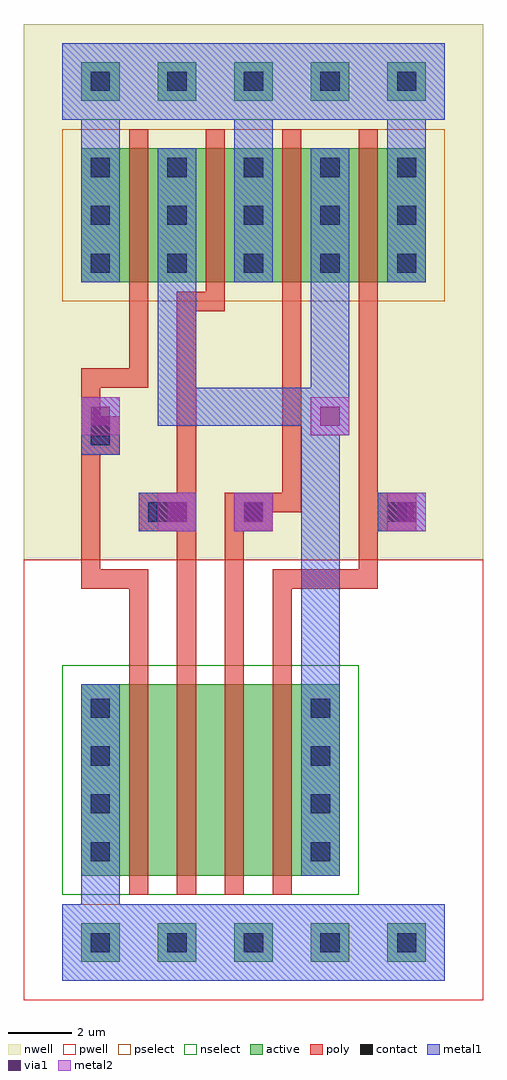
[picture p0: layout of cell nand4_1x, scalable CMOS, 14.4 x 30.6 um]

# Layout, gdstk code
import gdstk
lib = gdstk.Library(unit=1e-6, precision=1e-09)
def R(c, l, rs):  # rectangles x0, y0, x1, y1
    for r in rs: c.add(gdstk.rectangle(r[:2], r[2:], *l))
def A(c, l, x, y, w, h, nx, ny, dx, dy):  # array of equal rectangles
    R(c, l, [(x+i*dx, y+j*dy, x+i*dx+w, y+j*dy+h) for i in range(nx) for j in range(ny)])
contact = (25, 0)
pwell = (41, 0)
nwell = (42, 0)
active = (43, 0)
pselect = (44, 0)
nselect = (45, 0)
poly = (46, 0)
metal1 = (49, 0)
via1 = (50, 0)
metal2 = (51, 0)

nand4_1x = lib.new_cell('nand4_1x')
A(nand4_1x, contact, 0.3, -0.3, 0.6, 0.6, 5, 2, 2.4, 21.3)
A(nand4_1x, contact, 0.3, 2.55, 0.6, 0.6, 1, 4, 0, 1.5)
A(nand4_1x, contact, 7.2, 2.55, 0.6, 0.6, 1, 4, 0, 1.5)
A(nand4_1x, contact, 0.3, 22.5, 0.6, 0.6, 5, 2, 2.4, 1.5)
A(nand4_1x, contact, 0.3, 26.7, 0.6, 0.6, 5, 1, 2.4, 0)
R(nand4_1x, contact, [(2.1,13.2,2.7,13.8), (5.1,13.2,5.7,13.8), (9.6,13.2,10.2,13.8), (0.3,15.6,0.9,16.2)])
A(nand4_1x, pwell, -0.9, -1.5, 3, 3, 5, 1, 2.4, 0)
A(nand4_1x, pwell, -1.2, 0.3, 6, 9.6, 4, 1, 1.5, 0)
A(nand4_1x, pwell, -0.075, 5.1, 5.25, 4.5, 3, 1, 1.5, 0)
R(nand4_1x, pwell, [(-1.8,-1.8,12.6,12), (-1.8,0.3,3,9.9), (5.1,0.3,9.9,9.9), (5.175,4.35,9.75,8.85), (-1.8,5.1,2.925,9.6)])
A(nand4_1x, nwell, -1.8, 18.9, 4.8, 7.8, 5, 1, 2.4, 0)
A(nand4_1x, nwell, -1.2, 18.9, 6, 7.8, 4, 1, 2.4, 0)
A(nand4_1x, nwell, -0.9, 25.5, 3, 3, 5, 1, 2.4, 0)
R(nand4_1x, nwell, [(-1.8,12,12.6,28.8), (5.475,18.9,10.2,23.4), (5.7,18.9,10.2,25.65), (0.75,19.8,5.325,24.3), (7.875,19.8,12.45,24.3), (3.075,19.95,7.8,24.45), (3.15,19.95,7.725,24.45), (5.55,20.1,10.125,24.6), (0.675,20.4,5.4,24.9), (-1.65,21.15,2.925,25.65)])
A(nand4_1x, active, 0, -0.6, 1.2, 1.2, 5, 2, 2.4, 27)
A(nand4_1x, active, 0.6, 2.1, 2.4, 6, 4, 1, 1.5, 0)
A(nand4_1x, active, 1.725, 6.9, 1.65, 0.9, 3, 1, 1.5, 0)
A(nand4_1x, active, 0, 20.7, 1.2, 4.2, 5, 1, 2.4, 0)
A(nand4_1x, active, 0.6, 20.7, 2.4, 4.2, 4, 1, 2.4, 0)
R(nand4_1x, active, [(0,2.1,1.2,8.1), (6.9,2.1,8.1,8.1), (6.975,6.15,7.95,7.05), (0,6.9,1.125,7.8), (7.275,20.7,8.4,21.6), (7.5,20.7,8.4,23.85), (2.55,21.6,3.525,22.5), (9.675,21.6,10.65,22.5), (4.875,21.75,6,22.65), (4.95,21.75,5.925,22.65), (7.35,21.9,8.325,22.8), (2.475,22.2,3.6,23.1), (0.15,22.95,1.125,23.85)])
A(nand4_1x, pselect, -0.6, -1.2, 2.4, 2.4, 5, 1, 2.4, 0)
A(nand4_1x, pselect, -0.6, 20.1, 2.4, 5.4, 5, 1, 2.4, 0)
A(nand4_1x, pselect, 0, 20.1, 3.6, 5.4, 4, 1, 2.4, 0)
R(nand4_1x, pselect, [(6.675,20.1,9,22.2), (6.9,20.1,9,24.45), (1.95,21,4.125,23.1), (9.075,21,11.25,23.1), (4.275,21.15,6.6,23.25), (4.35,21.15,6.525,23.25), (6.75,21.3,8.925,23.4), (1.875,21.6,4.2,23.7), (-0.45,22.35,1.725,24.45)])
A(nand4_1x, nselect, 0, 1.5, 3.6, 7.2, 4, 1, 1.5, 0)
A(nand4_1x, nselect, 1.125, 6.3, 2.85, 2.1, 3, 1, 1.5, 0)
A(nand4_1x, nselect, -0.6, 25.8, 2.4, 2.4, 5, 1, 2.4, 0)
R(nand4_1x, nselect, [(-0.6,1.5,1.8,8.7), (6.3,1.5,8.7,8.7), (6.375,5.55,8.55,7.65), (-0.6,6.3,1.725,8.4)])
A(nand4_1x, poly, 1.5, 1.5, 0.6, 7.2, 4, 1, 1.5, 0)
A(nand4_1x, poly, 1.5, 20.1, 0.6, 5.4, 4, 1, 2.4, 0)
R(nand4_1x, poly, [(1.5,8.4,2.1,11.7), (3,8.4,3.6,13.8), (4.5,8.4,5.1,14.1), (6,8.4,6.6,11.7), (0,11.1,2.1,11.7), (0,11.1,0.6,16.2), (6,11.1,9.3,11.7), (8.7,11.1,9.3,13.8), (1.8,12.9,3,14.1), (4.8,12.9,6,14.1), (9.3,12.9,10.5,14.1), (2.1,13.2,3.6,13.8), (3,13.2,3.6,20.4), (5.1,13.2,5.7,13.8), (5.1,13.2,5.7,14.1), (8.7,13.2,9.3,20.4), (8.7,13.2,10.2,13.8), (4.5,13.5,5.7,14.1), (4.5,13.5,6.9,14.1), (6.3,13.5,6.9,17.1), (0,15.3,1.2,16.5), (0,15.6,0.6,18), (0,15.6,0.9,16.2), (6.3,15.9,6.9,17.1), (6.3,16.5,6.9,20.4), (0,17.4,2.1,18), (1.5,17.4,2.1,20.4), (3,19.8,4.5,20.4)])
A(nand4_1x, metal1, -0.6, -1.2, 4.8, 2.4, 4, 2, 2.4, 27)
A(nand4_1x, metal1, 0, -0.6, 1.2, 1.2, 5, 1, 2.4, 0)
A(nand4_1x, metal1, 0, 20.7, 1.2, 4.2, 5, 1, 2.4, 0)
A(nand4_1x, metal1, 0, 26.4, 1.2, 1.2, 4, 1, 2.4, 0)
R(nand4_1x, metal1, [(-0.6,-1.2,1.8,1.2), (-0.6,-1.2,4.2,1.2), (0,-0.6,1.2,3.15), (0,2.1,1.2,8.1), (6.9,2.1,8.1,8.1), (6.9,6,8.1,17.1), (1.8,12.9,3,14.1), (1.8,12.9,3.6,14.1), (2.4,12.9,3.6,14.1), (4.8,12.9,6,14.1), (4.8,12.9,6,14.1), (4.8,12.9,6,14.1), (9.3,12.9,10.5,14.1), (9.3,12.9,10.8,14.1), (9.6,12.9,10.8,14.1), (4.95,13.05,5.85,13.95), (0,15.3,1.2,16.5), (0,15.3,1.2,17.1), (0,15.9,1.2,17.1), (6.9,15.9,8.1,17.4), (6.9,15.9,8.4,17.1), (6.9,15.9,8.4,17.1), (7.2,15.9,8.4,17.1), (7.2,15.9,8.4,21.75), (2.4,16.2,3.6,21.75), (2.4,16.2,8.1,17.4), (4.8,22.65,6,27.6), (0,22.8,1.2,27.6), (9.6,22.8,10.8,27.6), (-0.6,25.8,1.8,28.2), (0,26.4,1.2,27.6), (4.8,26.4,8.4,27.6), (7.2,26.4,8.4,27.6), (9.6,26.4,10.8,27.6), (9.6,26.4,10.8,27.6)])
R(nand4_1x, via1, [(2.7,13.2,3.3,13.8), (5.1,13.2,5.7,13.8), (9.9,13.2,10.5,13.8), (0.3,16.2,0.9,16.8), (7.5,16.2,8.1,16.8)])
R(nand4_1x, metal2, [(2.4,12.9,3.6,14.1), (4.8,12.9,6,14.1), (9.6,12.9,10.8,14.1), (0,15.9,1.2,17.1), (7.2,15.9,8.4,17.1)])

lib.write_gds('nand4_1x.gds')
